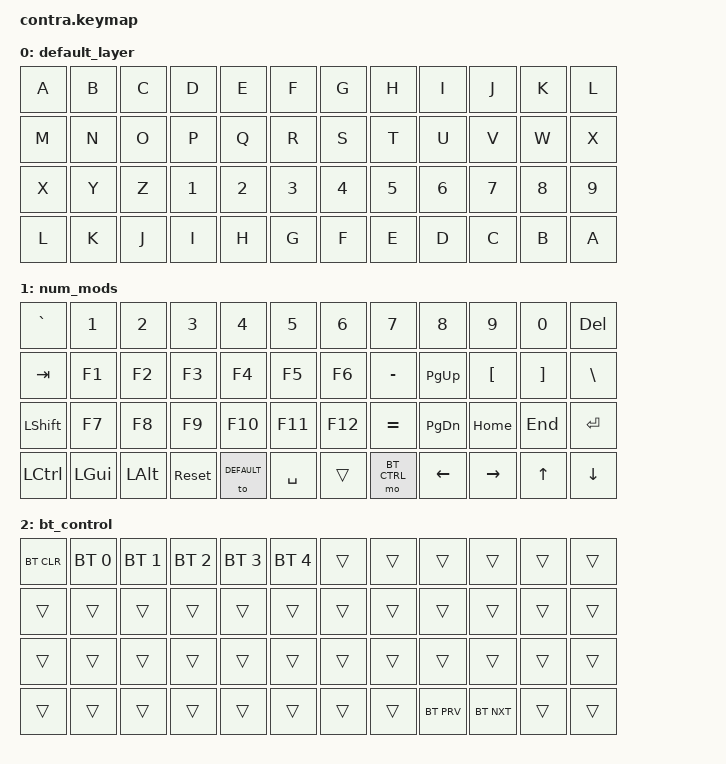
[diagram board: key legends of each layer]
/*
 * Copyright (c) 2021 The ZMK Contributors
 *
 * SPDX-License-Identifier: MIT
 */

#include <behaviors.dtsi>
#include <dt-bindings/zmk/keys.h>
#include <dt-bindings/zmk/bt.h>

#define DEFAULT  0
#define NUM_MODS 1
#define BT_CTRL  2

/ {
    keymap {
        compatible = "zmk,keymap";

        default_layer {
            bindings = <
    &kp A  &kp B      &kp C        &kp D        &kp E          &kp F         &kp G         &kp H          &kp I        &kp J         &kp K       &kp L 
    &kp M  &kp N      &kp O        &kp P        &kp Q          &kp R         &kp S         &kp T          &kp U        &kp V         &kp W       &kp X
    &kp X  &kp Y      &kp Z        &kp N1       &kp N2         &kp N3        &kp N4        &kp N5         &kp N6       &kp N7        &kp N8      &kp N9
    &kp L  &kp K      &kp J        &kp I        &kp H          &kp G         &kp F         &kp E          &kp D        &kp C         &kp B       &kp A 
            >;
        };

        num_mods {
            bindings = <
    &kp GRAVE &kp N1    &kp N2   &kp N3   &kp N4      &kp N5     &kp N6    &kp N7      &kp N8    &kp N9    &kp N0   &kp DEL
    &kp TAB   &kp F1    &kp F2   &kp F3   &kp F4      &kp F5     &kp F6    &kp MINUS   &kp PG_UP &kp LBKT  &kp RBKT &kp BSLH
    &kp LSHFT &kp F7    &kp F8   &kp F9   &kp F10     &kp F11    &kp F12   &kp EQUAL   &kp PG_DN &kp HOME  &kp END  &kp ENTER
    &kp LCTRL &kp LGUI  &kp LALT &sys_reset   &to DEFAULT &kp SPACE  &trans    &mo BT_CTRL &kp LEFT  &kp RIGHT &kp UP   &kp DOWN
            >;
        };

        bt_control {
            bindings = <
    &bt BT_CLR &bt BT_SEL 0 &bt BT_SEL 1 &bt BT_SEL 2 &bt BT_SEL 3 &bt BT_SEL 4 &trans    &trans    &trans     &trans     &trans   &trans
    &trans     &trans       &trans       &trans       &trans       &trans       &trans    &trans    &trans     &trans     &trans   &trans
    &trans     &trans       &trans       &trans       &trans       &trans       &trans    &trans    &trans     &trans     &trans   &trans
    &trans     &trans       &trans       &trans       &trans       &trans       &trans    &trans    &bt BT_PRV &bt BT_NXT &trans   &trans
            >;
        };
    };
};
